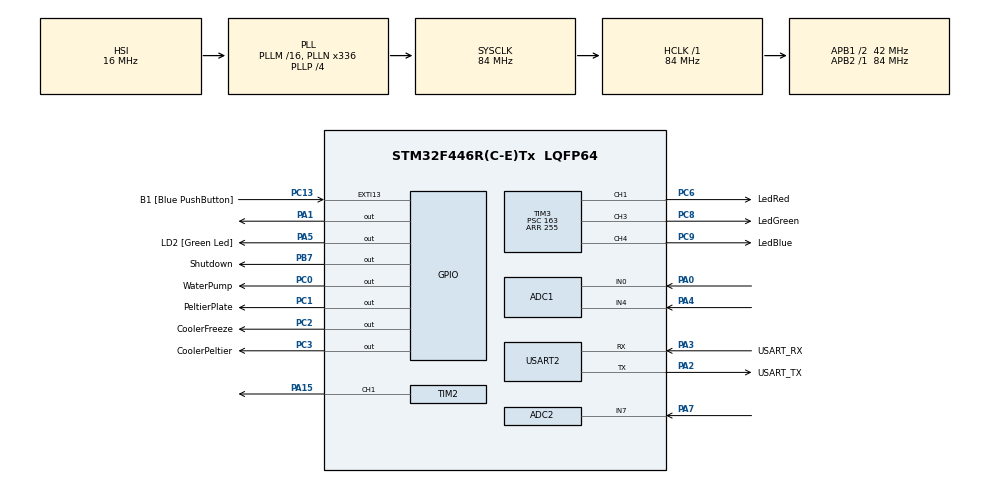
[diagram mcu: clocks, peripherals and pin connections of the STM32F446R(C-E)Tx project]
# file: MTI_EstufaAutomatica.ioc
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ADC1.Channel-0\#ChannelRegularConversion=ADC_CHANNEL_0
ADC1.Channel-1\#ChannelRegularConversion=ADC_CHANNEL_4
ADC1.DMAContinuousRequests=ENABLE
ADC1.EOCSelection=ADC_EOC_SEQ_CONV
ADC1.ExternalTrigConv=ADC_EXTERNALTRIGCONV_T2_TRGO
ADC1.NbrOfConversion=2
ADC1.NbrOfConversionFlag=1
ADC1.Rank-0\#ChannelRegularConversion=1
ADC1.Rank-1\#ChannelRegularConversion=2
ADC1.SamplingTime-0\#ChannelRegularConversion=ADC_SAMPLETIME_3CYCLES
ADC1.SamplingTime-1\#ChannelRegularConversion=ADC_SAMPLETIME_3CYCLES
ADC1.master=1
ADC2.Channel-0\#ChannelRegularConversion=ADC_CHANNEL_7
ADC2.DMAContinuousRequests=ENABLE
ADC2.ExternalTrigConv=ADC_EXTERNALTRIGCONV_T8_TRGO
ADC2.NbrOfConversionFlag=1
ADC2.Rank-0\#ChannelRegularConversion=1
ADC2.SamplingTime-0\#ChannelRegularConversion=ADC_SAMPLETIME_3CYCLES
Dma.ADC1.0.Direction=DMA_PERIPH_TO_MEMORY
Dma.ADC1.0.FIFOMode=DMA_FIFOMODE_DISABLE
Dma.ADC1.0.Instance=DMA2_Stream0
Dma.ADC1.0.MemDataAlignment=DMA_MDATAALIGN_HALFWORD
Dma.ADC1.0.MemInc=DMA_MINC_ENABLE
Dma.ADC1.0.Mode=DMA_CIRCULAR
Dma.ADC1.0.PeriphDataAlignment=DMA_PDATAALIGN_HALFWORD
Dma.ADC1.0.PeriphInc=DMA_PINC_DISABLE
Dma.ADC1.0.Priority=DMA_PRIORITY_MEDIUM
Dma.ADC2.3.Direction=DMA_PERIPH_TO_MEMORY
Dma.ADC2.3.FIFOMode=DMA_FIFOMODE_DISABLE
Dma.ADC2.3.Instance=DMA2_Stream2
Dma.ADC2.3.MemDataAlignment=DMA_MDATAALIGN_HALFWORD
Dma.ADC2.3.MemInc=DMA_MINC_ENABLE
Dma.ADC2.3.Mode=DMA_CIRCULAR
Dma.ADC2.3.PeriphDataAlignment=DMA_PDATAALIGN_HALFWORD
Dma.ADC2.3.PeriphInc=DMA_PINC_DISABLE
Dma.ADC2.3.Priority=DMA_PRIORITY_MEDIUM
Dma.Request0=ADC1
Dma.Request1=USART2_RX
Dma.Request2=USART2_TX
Dma.Request3=ADC2
Dma.USART2_RX.1.Direction=DMA_PERIPH_TO_MEMORY
Dma.USART2_RX.1.FIFOMode=DMA_FIFOMODE_DISABLE
Dma.USART2_RX.1.Instance=DMA1_Stream5
Dma.USART2_RX.1.MemDataAlignment=DMA_MDATAALIGN_BYTE
Dma.USART2_RX.1.MemInc=DMA_MINC_ENABLE
Dma.USART2_RX.1.Mode=DMA_CIRCULAR
Dma.USART2_RX.1.PeriphDataAlignment=DMA_PDATAALIGN_BYTE
Dma.USART2_RX.1.PeriphInc=DMA_PINC_DISABLE
Dma.USART2_RX.1.Priority=DMA_PRIORITY_MEDIUM
Dma.USART2_TX.2.Direction=DMA_MEMORY_TO_PERIPH
Dma.USART2_TX.2.FIFOMode=DMA_FIFOMODE_DISABLE
Dma.USART2_TX.2.Instance=DMA1_Stream6
Dma.USART2_TX.2.MemDataAlignment=DMA_MDATAALIGN_BYTE
Dma.USART2_TX.2.MemInc=DMA_MINC_ENABLE
Dma.USART2_TX.2.Mode=DMA_NORMAL
Dma.USART2_TX.2.PeriphDataAlignment=DMA_PDATAALIGN_BYTE
Dma.USART2_TX.2.PeriphInc=DMA_PINC_DISABLE
Dma.USART2_TX.2.Priority=DMA_PRIORITY_MEDIUM
Mcu.Family=STM32F4
Mcu.Name=STM32F446R(C-E)Tx
Mcu.Package=LQFP64
NVIC.DMA1_Stream5_IRQn=true\:0\:0\:false\:false\:true\:false\:true
NVIC.DMA1_Stream6_IRQn=true\:0\:0\:false\:false\:true\:false\:true
NVIC.DMA2_Stream0_IRQn=true\:0\:0\:false\:false\:true\:false\:true
NVIC.DMA2_Stream2_IRQn=true\:0\:0\:false\:false\:true\:false\:true
NVIC.PriorityGroup=NVIC_PRIORITYGROUP_0
NVIC.TIM1_TRG_COM_TIM11_IRQn=true\:0\:0\:false\:false\:true\:true\:true
NVIC.TIM1_UP_TIM10_IRQn=true\:0\:3\:false\:false\:true\:true\:true
NVIC.USART2_IRQn=true\:0\:0\:false\:false\:true\:true\:true
PA0-WKUP.Signal=ADCx_IN0
PA1.Signal=GPIO_Output
PA13.GPIO_Label=TMS
PA13.Mode=Serial_Wire
PA13.Signal=SYS_JTMS-SWDIO
PA14.GPIO_Label=TCK
PA14.Mode=Serial_Wire
PA14.Signal=SYS_JTCK-SWCLK
PA15.Signal=S_TIM2_CH1_ETR
PA2.GPIO_Label=USART_TX
PA2.Mode=Asynchronous
PA2.Signal=USART2_TX
PA3.GPIO_Label=USART_RX
PA3.Mode=Asynchronous
PA3.Signal=USART2_RX
PA4.Signal=ADCx_IN4
PA5.GPIO_Label=LD2 [Green Led]
PA5.Signal=GPIO_Output
PA7.Signal=ADCx_IN7
PB3.GPIO_Label=SWO
PB3.Signal=SYS_JTDO-SWO
PB7.GPIO_Label=Shutdown
PB7.Signal=GPIO_Output
PC0.GPIO_Label=WaterPump
PC0.Signal=GPIO_Output
PC1.GPIO_Label=PeltierPlate
PC1.Signal=GPIO_Output
PC13.GPIO_Label=B1 [Blue PushButton]
PC13.GPIO_ModeDefaultEXTI=GPIO_MODE_IT_FALLING
PC13.Signal=GPXTI13
PC14-OSC32_IN.Mode=LSE-External-Oscillator
PC14-OSC32_IN.Signal=RCC_OSC32_IN
PC15-OSC32_OUT.Mode=LSE-External-Oscillator
PC15-OSC32_OUT.Signal=RCC_OSC32_OUT
PC2.GPIO_Label=CoolerFreeze
PC2.Signal=GPIO_Output
PC3.GPIO_Label=CoolerPeltier
PC3.Signal=GPIO_Output
PC6.GPIO_Label=LedRed
PC6.Signal=S_TIM3_CH1
PC8.GPIO_Label=LedGreen
PC8.Signal=S_TIM3_CH3
PC9.GPIO_Label=LedBlue
PC9.Signal=S_TIM3_CH4
PH0-OSC_IN.Mode=HSE-External-Oscillator
PH0-OSC_IN.Signal=RCC_OSC_IN
PH1-OSC_OUT.Mode=HSE-External-Oscillator
PH1-OSC_OUT.Signal=RCC_OSC_OUT
ProjectManager.HeapSize=0x200
ProjectManager.StackSize=0x400
ProjectManager.TargetToolchain=STM32CubeIDE
RCC.48MHZClocksFreq_Value=84000000
RCC.AHBFreq_Value=84000000
RCC.APB1CLKDivider=RCC_HCLK_DIV2
RCC.APB1Freq_Value=42000000
RCC.APB1TimFreq_Value=84000000
RCC.APB2Freq_Value=84000000
RCC.APB2TimFreq_Value=84000000
RCC.CortexFreq_Value=84000000
RCC.FLatency-AdvancedSettings=FLASH_LATENCY_2
RCC.HCLKFreq_Value=84000000
RCC.HSE_VALUE=8000000
RCC.HSI_VALUE=16000000
RCC.PLLN=336
RCC.PLLP=RCC_PLLP_DIV4
RCC.SYSCLKFreq_VALUE=84000000
RCC.SYSCLKSource=RCC_SYSCLKSOURCE_PLLCLK
RCC.USBFreq_Value=168000000
RCC.VCOOutputFreq_Value=336000000
SH.ADCx_IN0.0=ADC1_IN0,IN0
SH.ADCx_IN4.0=ADC1_IN4,IN4
SH.ADCx_IN7.0=ADC2_IN7,IN7
SH.S_TIM2_CH1_ETR.0=TIM2_CH1,Output Compare1 CH1
SH.S_TIM3_CH1.0=TIM3_CH1,PWM Generation1 CH1
SH.S_TIM3_CH3.0=TIM3_CH3,PWM Generation3 CH3
SH.S_TIM3_CH4.0=TIM3_CH4,PWM Generation4 CH4
TIM10.Period=30000-1
TIM10.Prescaler=8400-1
TIM11.Period=6461-1
TIM11.Prescaler=64999
TIM2.Channel-Output\ Compare1\ CH1=TIM_CHANNEL_1
TIM2.OCMode_1=TIM_OCMODE_TOGGLE
TIM2.Period=499
TIM2.Prescaler=83
TIM2.TIM_MasterOutputTrigger=TIM_TRGO_UPDATE
TIM3.Channel-PWM\ Generation1\ CH1=TIM_CHANNEL_1
TIM3.Channel-PWM\ Generation3\ CH3=TIM_CHANNEL_3
TIM3.Channel-PWM\ Generation4\ CH4=TIM_CHANNEL_4
TIM3.Period=255
TIM3.Prescaler=163
TIM3.Pulse-PWM\ Generation1\ CH1=50
TIM3.Pulse-PWM\ Generation3\ CH3=50
TIM3.Pulse-PWM\ Generation4\ CH4=50
TIM3.TIM_MasterOutputTrigger=TIM_TRGO_RESET
TIM8.Period=199
TIM8.Prescaler=83
TIM8.TIM_MasterOutputTrigger=TIM_TRGO_UPDATE
USART2.VirtualMode=VM_ASYNC
VP_TIM10_VS_ClockSourceINT.Mode=Enable_Timer
VP_TIM11_VS_ClockSourceINT.Mode=Enable_Timer
VP_TIM2_VS_ClockSourceINT.Mode=Internal
VP_TIM3_VS_ClockSourceINT.Mode=Internal
VP_TIM8_VS_ClockSourceINT.Mode=Internal
board=NUCLEO-F446RE

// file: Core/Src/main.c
/* USER CODE BEGIN Header */
/**
  ******************************************************************************************************************
  * @file       main.c
  * @authors	Adriano André (Adriano-Andre),
  *  			Bruno Berwanger (BrunoGabrielBerwanger),
  * 			Fabrício Lutz (FabricioLutz),
  * 			Jordana Dutra (dutrajordana).
  * @date		Ago-Out (2020)
  * @copyright	Eletrônica - Fundação Liberato
  * @brief      Controle de Temperatura, Umidade do solo e Luz.
  ******************************************************************************************************************
  * @attention
  * Código utilizado para o trabalho MeuTrecoNaInternet - MICROS II - FETLSVC.
  * Pinagem atuadores: PC0->WaterPump, PC1->PeltierPlate, PC2->CoolerFreeze, PC3->CoolerPeltier, PC6->LedVermelho, PC8->LedVerde, PC9->LedAzul.
  * Pinagem sensores: PA0->LDR, PA1->DHT11, PA4->YL-69, PA7->ACS712.
  * Pinagem desligamento: PB7->Shutdown.
  *
  ******************************************************************************************************************
  */
/* USER CODE END Header */
#include "main.h"
#include "adc.h"
#include "dma.h"
#include "tim.h"
#include "usart.h"
#include "gpio.h"

/* USER CODE BEGIN Includes */
#include "DHT.h"								///< Biblioteca para o sensor DHT11 - Desenvolvida por: Controllers Tech (controllerstech.com)
#include "string.h"								///< Biblioteca básica
#include "stdio.h"								///< Biblioteca básica
#include "stdlib.h"								///< Biblioteca básica
#include "math.h"								///< Biblioteca básica
/* USER CODE END Includes */

/* USER CODE BEGIN PTD */
DHT_DataTypedef DHT11_Data;						///< Cria a estrutura para o sensor
/* USER CODE END PTD */

/* USER CODE BEGIN PD */
#define NAME 	"ALFA"							///< Nome da estufa (ALFA, BETA, GAMA)
#define VOLTAGE 12.00							///< Tensão elétrica usada para acionamento dos atuadores (Volts)
#define I_MAX   4.00							///< Máxima corrente elétrica (Amperes)
#define C_SENS  0.066							///< Coeficiente de sensibilidade do sensor ACS712 [0.185(5A), 0.1(20A), 0.066(30A)]
#define ZERO    (4.85/2)*(4096/3.3)				///< Valor de variação centrald o sensor ACS712, que depende da tensão de alimentação do sensor
#define SAMPLE  20								///< Número de amostras a serem analisadas pelos ADC's
#define PERCENT (100.0/(4095.0*10.0)) 			///< Cálculo da porcentagem para medição de Luz e Umidade do Solo
#define SIZE_TX 150								///< Tamanho máximo do buffer TX da usart
#define SIZE_RX 25								///< Tamanho máximo do buffer RX da usart
/* USER CODE END PD */

/* USER CODE BEGIN PV */
float Temperature;										///< Temperatura medida pelo sensor DHT11, em graus Celsius
float Humidity;											///< Umidade do ar medida pelo sensor DHT11, em porcentagem
float Light;											///< Luz medida pelo sensor LDR, em porcentagem
float Moisture;											///< Umidade do solo medida pelo sensor YL-69, em porcentagem
float Current;											///< Corrente elétrica medida pelo sensor ACS712, em ampéres
float Power;											///< Variáveis de consumo elétrico
uint8_t StateOf[4];										///< Vetor para acompanhar estado de alguns atuadores (Cooler da Peltier, Placa Peltier, Cooler de resfriamento e Status da Estufa)
volatile uint16_t measure_ADC1[SAMPLE];					///< Vetor para armazenar as leituras do YL-69 e LDR, no ADC1
volatile uint16_t measure_ADC2[SAMPLE];					///< Vetor para armazenar as leituras do ACS712, no ADC2
uint16_t average[3];									///< Média aritmética das medições do ADC1 e ADC2 (LDR, YL-69, ACS712)
char bufferRX[SIZE_RX];									///< Buffer de recebimento da USART
char bufferTX[SIZE_TX];									///< Buffer de envio da USART
float parameter[7]={0,50,0,100,255,255,255};			///< Vetor com os parâmetros ideais da estufa (TemperaturaMinima,TemperaturaMaxima,UmidadeDoSoloMinima, UmidadeDoSoloMaxima, LuzVermelha, LuzVerde, LuzAzul)
enum AUX												/// Enumeração para uso auxiliar dos vetores
{	 													//
	Temperature_Min,									// Variáveis para vetor parameter[]
	Temperature_Max,									// -
	Moisture_Min,										// -
	Moisture_Max,										// -
	LightRed,											// -
	LightGreen,											// -
	LightBlue,											// -
	CoolerPeltier=0,									// Variáveis para vetor StateOf[]
	PeltierPlate,										// -
	CoolerFreeze,										// -
	Status,												// -
	LDR=0,												// Variáveis paravetor average[]
	YL_69,												// -
	ACS712												// -
};

/* USER CODE END PV */

void SystemClock_Config(void);

/* USER CODE BEGIN 0 */
/**
  * @brief  Função de religamento da estufa. O PWM da fita de led é reativado, os demais atuadores esperarão por solicitação.
  * @retval None
  */
void turnOn(void)
{
	HAL_GPIO_WritePin(Shutdown_GPIO_Port, Shutdown_Pin,         GPIO_PIN_RESET);// Desativa o desligamento forçado dos atuadores
	HAL_GPIO_WritePin(PeltierPlate_GPIO_Port,PeltierPlate_Pin,  GPIO_PIN_RESET);// Desativação do atuador
	HAL_GPIO_WritePin(CoolerPeltier_GPIO_Port,CoolerPeltier_Pin,GPIO_PIN_RESET);// Desativação do atuador
	HAL_GPIO_WritePin(CoolerFreeze_GPIO_Port, CoolerFreeze_Pin, GPIO_PIN_RESET);// Desativação do atuador
	HAL_GPIO_WritePin(WaterPump_GPIO_Port,    WaterPump_Pin,    GPIO_PIN_RESET);// Desativação do atuador
	HAL_TIM_PWM_Start(&htim3, TIM_CHANNEL_1);									// Dispara a geração do sinal PWM - TIMER 3
	HAL_TIM_PWM_Start(&htim3, TIM_CHANNEL_3);									// Dispara a geração do sinal PWM - TIMER 3
	HAL_TIM_PWM_Start(&htim3, TIM_CHANNEL_4);									// Dispara a geração do sinal PWM - TIMER 3
	parameter[0]=0; parameter[1]=50; parameter[2]=0;							// Remove o código de reativação e reseta os parâmetros
	parameter[3]=100; parameter[4]=255; parameter[5]=255; parameter[6]=255;
	Current = 0;																// Reseta a variável de corrente para evitar medições enganosas
	Power = 0;																    // Reseta a variável de potência para evitar medições enganosas
	StateOf[PeltierPlate]  =   0;												// Guarda estado atual
	StateOf[CoolerPeltier] =   0;												// Guarda estado atual
	StateOf[CoolerFreeze]  =   0;												// Guarda estado atual
	StateOf[Status]        =   1;												// Guarda estado atual
}
/**
  * @brief  Função de desligamento da estufa. O Shutdon é ativado, todos os atuadores são desativados, o PWM da fita de led é desligado.
  * @retval None
  */
void turnOff(void)
{
	HAL_GPIO_WritePin(Shutdown_GPIO_Port, Shutdown_Pin,           GPIO_PIN_SET);// Ativa o desligamento forçado dos atuadores
	HAL_GPIO_WritePin(PeltierPlate_GPIO_Port,PeltierPlate_Pin,  GPIO_PIN_RESET);// Desativação do atuador
	HAL_GPIO_WritePin(CoolerPeltier_GPIO_Port,CoolerPeltier_Pin,GPIO_PIN_RESET);// Desativação do atuador
	HAL_GPIO_WritePin(CoolerFreeze_GPIO_Port, CoolerFreeze_Pin, GPIO_PIN_RESET);// Desativação do atuador
	HAL_GPIO_WritePin(WaterPump_GPIO_Port,    WaterPump_Pin,    GPIO_PIN_RESET);// Desativação do atuador
    HAL_TIM_PWM_Stop(&htim3, TIM_CHANNEL_1);									// Desliga a geração do sinal PWM - TIMER 3
    HAL_TIM_PWM_Stop(&htim3, TIM_CHANNEL_3);									// Desliga a geração do sinal PWM - TIMER 3
    HAL_TIM_PWM_Stop(&htim3, TIM_CHANNEL_4);									// Desliga a geração do sinal PWM - TIMER 3
	parameter[0]=0; parameter[1]=50; parameter[2]=0;							// Remove o código de reativação e reseta os parâmetros
	parameter[3]=100; parameter[4]=255; parameter[5]=255; parameter[6]=255;
	Current = 0;																// Reseta a variável de corrente para evitar medições enganosas
	Power = 0;																    // Reseta a variável de potência para evitar medições enganosas
	StateOf[PeltierPlate]  =   0;												// Guarda estado atual
	StateOf[CoolerPeltier] =   0;												// Guarda estado atual
	StateOf[CoolerFreeze]  =   0;												// Guarda estado atual
	StateOf[Status]        =   0; 												// Guarda estado atual
}
/* USER CODE END 0 */

int main(void)
{

  /* MCU Configuration--------------------------------------------------------*/

  /* Reset of all peripherals, Initializes the Flash interface and the Systick. */
  HAL_Init();

  /* Configure the system clock */
  SystemClock_Config();

  /* Initialize all configured peripherals */
  MX_GPIO_Init();
  MX_DMA_Init();
  MX_USART2_UART_Init();
  MX_ADC1_Init();
  MX_TIM3_Init();
  MX_TIM10_Init();
  MX_TIM2_Init();
  MX_TIM11_Init();
  MX_ADC2_Init();
  MX_TIM8_Init();
  /* USER CODE BEGIN 2 */
  // ATIVAÇÃO DO ADC1 E ADC2
  HAL_TIM_OC_Start(&htim2, TIM_CHANNEL_1);								// Ativa o timer 2 como trigger do ADC1
  HAL_ADC_Start_DMA(&hadc1, (uint32_t*) measure_ADC1, SAMPLE);			// Dispara a conversão DMA circular do ADC1
  HAL_TIM_Base_Start(&htim8);											// Ativa o timer 8 como trigger do ADC2
  HAL_ADC_Start_DMA(&hadc2, (uint32_t*) measure_ADC2, SAMPLE);			// Dispara a conversão DMA circular do ADC2
  // ATIVAÇÃO DA USART2 PARA RECEBIMENTO DE DADOS
  HAL_UART_Receive_DMA(&huart2, (uint8_t*) bufferRX, SIZE_RX);			// Ativa o recebimento de dados pela USART
  // ATIVAÇÃO DO TIM11 PARA ATIVAÇÃO DOS ATUADORES E ENVIO DE DADOS
  HAL_TIM_Base_Start_IT(&htim11);										// Ativa o timer 11 para análisar os estados da estufa e enviar os dados lidos
  // ATIVAÇÃO DO TIM10 PARA LEITURAS DO DHT11
  HAL_TIM_Base_Start_IT(&htim10);										// Ativa o timer 10 para leitura da temperatura/umidade do DHT11
  // PWM PARA FITA DE LED
  HAL_TIM_PWM_Start(&htim3, TIM_CHANNEL_1);								// Dispara a geração do sinal PWM - TIMER 3
  HAL_TIM_PWM_Start(&htim3, TIM_CHANNEL_3);								// Dispara a geração do sinal PWM - TIMER 3
  HAL_TIM_PWM_Start(&htim3, TIM_CHANNEL_4);								// Dispara a geração do sinal PWM - TIMER 3
  // ESTADO DA ESTUFA
  StateOf[Status] = 1;													// Estado inicial da estufa: ligado

  /* USER CODE END 2 */

  /* Infinite loop */
  while (1)
  {

  }
}

void SystemClock_Config(void)
{
  RCC_OscInitTypeDef RCC_OscInitStruct = {0};
  RCC_ClkInitTypeDef RCC_ClkInitStruct = {0};

  /** Configure the main internal regulator output voltage
  */
  __HAL_RCC_PWR_CLK_ENABLE();
  __HAL_PWR_VOLTAGESCALING_CONFIG(PWR_REGULATOR_VOLTAGE_SCALE3);
  /** Initializes the RCC Oscillators according to the specified parameters
  * in the RCC_OscInitTypeDef structure.
  */
  RCC_OscInitStruct.OscillatorType = RCC_OSCILLATORTYPE_HSI;
  RCC_OscInitStruct.HSIState = RCC_HSI_ON;
  RCC_OscInitStruct.HSICalibrationValue = RCC_HSICALIBRATION_DEFAULT;
  RCC_OscInitStruct.PLL.PLLState = RCC_PLL_ON;
  RCC_OscInitStruct.PLL.PLLSource = RCC_PLLSOURCE_HSI;
  RCC_OscInitStruct.PLL.PLLM = 16;
  RCC_OscInitStruct.PLL.PLLN = 336;
  RCC_OscInitStruct.PLL.PLLP = RCC_PLLP_DIV4;
  RCC_OscInitStruct.PLL.PLLQ = 2;
  RCC_OscInitStruct.PLL.PLLR = 2;
  if (HAL_RCC_OscConfig(&RCC_OscInitStruct) != HAL_OK)
  {
    Error_Handler();
  }
  /** Initializes the CPU, AHB and APB buses clocks
  */
  RCC_ClkInitStruct.ClockType = RCC_CLOCKTYPE_HCLK|RCC_CLOCKTYPE_SYSCLK
                              |RCC_CLOCKTYPE_PCLK1|RCC_CLOCKTYPE_PCLK2;
  RCC_ClkInitStruct.SYSCLKSource = RCC_SYSCLKSOURCE_PLLCLK;
  RCC_ClkInitStruct.AHBCLKDivider = RCC_SYSCLK_DIV1;
  RCC_ClkInitStruct.APB1CLKDivider = RCC_HCLK_DIV2;
  RCC_ClkInitStruct.APB2CLKDivider = RCC_HCLK_DIV1;

  if (HAL_RCC_ClockConfig(&RCC_ClkInitStruct, FLASH_LATENCY_2) != HAL_OK)
  {
    Error_Handler();
  }
}

/* USER CODE BEGIN 4 */
/**
  * @brief  Callback dos timers 10 e 11 para medição dos dados coletados do DHT11, análise de estados e envio de todas as informações dos sensores.
  * @retval None
  */
void HAL_TIM_PeriodElapsedCallback(TIM_HandleTypeDef *htim)
{
	// GUARDA OS VALORES DA ESTRUTURA DO DHT11 PÓS SALVAMENTO
	if(htim->Instance==TIM10)																	// Se o timer 10 estourou
	{																							//
		DHT_GetData(&DHT11_Data);																// Pega os valores do sensor
		Temperature = DHT11_Data.Temperature;													// Guarda a temperatura na variável flutuante
		Humidity = DHT11_Data.Humidity;															// Guarda a umidade do ar na variável flutuante
	}																							// Fim do estouro do TIM10
	// ANALISE DOS ESTADOS DA ESTUFA E ENVIO DOS DADOS COLETADOS
	if(htim->Instance==TIM11)																	// Se o timer 11 estourou
	{																							//
		// ENVIO DOS DADOS COLETADOS EM FORMATO JSON OBJECT PARA O NODE RED
		sprintf(bufferTX, "{\"Name\": \"%s\", \"Temperature\": %2.1f, \"Light\": %2.1f, \"Moisture\": %2.1f, \"Humidity\": %2.1f, \"Power\": %2.1f, \"Status\": %i}", NAME, Temperature, Light, Moisture, Humidity, Power, StateOf[Status]);
		HAL_UART_Transmit_DMA(&huart2, (uint8_t*) bufferTX, strlen(bufferTX));					// Envia a string bufferTX pela função Transmit DMA
		// CONTROLE DOS ATUADORES PELOS DADOS RECEBIDOS
		if(StateOf[Status]==1)																	// Se a estufa está ativada
		{																						//
			// ESTADOS DE TEMPERATURA COM HISTERESE
			if(Temperature<=(parameter[Temperature_Min]+1)&&(StateOf[CoolerFreeze]==1))			// Se o resfriamento está ativado, desliga somente ao alcançar a temperatura mínimo
			{																					//
				HAL_GPIO_WritePin(PeltierPlate_GPIO_Port, PeltierPlate_Pin,   GPIO_PIN_RESET);	// Desliga o atuador
				HAL_GPIO_WritePin(CoolerPeltier_GPIO_Port, CoolerPeltier_Pin, GPIO_PIN_RESET);	// Desliga o atuador
				HAL_GPIO_WritePin(CoolerFreeze_GPIO_Port, CoolerFreeze_Pin,   GPIO_PIN_RESET);	// Desliga o atuador
				StateOf[PeltierPlate]  = 0;														// Guarda o estado atual
				StateOf[CoolerPeltier] = 0;														// Guarda o estado atual
				StateOf[CoolerFreeze]  = 0;														// Guarda o estado atual
			}																					//
			else if((Temperature<parameter[Temperature_Min])&&(StateOf[CoolerFreeze]==0))		// Se o resfriamento está desativado e a temperatura está abaixo do mínimo
			{																					//
				HAL_GPIO_WritePin(PeltierPlate_GPIO_Port, PeltierPlate_Pin,   GPIO_PIN_SET);	// Liga o atuador
				HAL_GPIO_WritePin(CoolerPeltier_GPIO_Port, CoolerPeltier_Pin, GPIO_PIN_SET);	// Liga o atuador
				HAL_GPIO_WritePin(CoolerFreeze_GPIO_Port, CoolerFreeze_Pin,   GPIO_PIN_RESET);	// Desliga o atuador
				StateOf[PeltierPlate]  = 1;														// Guarda o estado atual
				StateOf[CoolerPeltier] = 1;														// Guarda o estado atual
				StateOf[CoolerFreeze]  = 0;														// Guarda o estado atual
			}																					//
			else if(Temperature>=(parameter[Temperature_Max]-1)&&(StateOf[PeltierPlate]==1))	// Se o aquecimento está ativado, desliga somente ao alcançar a temperatura máxima
			{																					//
				HAL_GPIO_WritePin(PeltierPlate_GPIO_Port, PeltierPlate_Pin,   GPIO_PIN_RESET);	// Desliga o atuador
				HAL_GPIO_WritePin(CoolerPeltier_GPIO_Port, CoolerPeltier_Pin, GPIO_PIN_RESET);	// Desliga o atuador
				HAL_GPIO_WritePin(CoolerFreeze_GPIO_Port, CoolerFreeze_Pin,   GPIO_PIN_RESET);	// Desliga o atuador
				StateOf[PeltierPlate]  = 0;														// Guarda o estado atual
				StateOf[CoolerPeltier] = 0;														// Guarda o estado atual
				StateOf[CoolerFreeze]  = 0;														// Guarda o estado atual
			}																					//
			else if((Temperature>parameter[Temperature_Max])&&(StateOf[PeltierPlate]==0))		// Se o aquecimento está desativado e a temperatura está acima do máximo
			{																					//
				HAL_GPIO_WritePin(PeltierPlate_GPIO_Port, PeltierPlate_Pin,   GPIO_PIN_RESET);	// Desliga o atuador
				HAL_GPIO_WritePin(CoolerPeltier_GPIO_Port, CoolerPeltier_Pin, GPIO_PIN_SET);	// Liga o atuador
				HAL_GPIO_WritePin(CoolerFreeze_GPIO_Port, CoolerFreeze_Pin,   GPIO_PIN_SET);	// Liga o atuador
				StateOf[PeltierPlate]  = 0;														// Guarda o estado atual
				StateOf[CoolerPeltier] = 1;														// Guarda o estado atual
				StateOf[CoolerFreeze]  = 1;														// Guarda o estado atual
			}																					//
			// ESTADOS DA UMIDADE DO SOLO COM HISTERESE
			if(Moisture<parameter[Moisture_Min])												// Se a umidade está menor que o mínimo
			{																					//
				HAL_GPIO_WritePin(WaterPump_GPIO_Port, WaterPump_Pin, GPIO_PIN_SET);			// Acionar modo de irrigação
			}																					//
			if(Moisture>=parameter[Moisture_Max])												// Se a umidade está acima do máximo
			{																					//
				HAL_GPIO_WritePin(WaterPump_GPIO_Port, WaterPump_Pin, GPIO_PIN_RESET);			// Desliga o modo de irrigação
			}																					//
			// ESTADOS DA LUZ
			__HAL_TIM_SET_COMPARE(&htim3,TIM_CHANNEL_1,parameter[LightRed]);					// Corrige a intensidade da cor
			__HAL_TIM_SET_COMPARE(&htim3,TIM_CHANNEL_3,parameter[LightGreen]);					// Corrige a intensidade da cor
			__HAL_TIM_SET_COMPARE(&htim3,TIM_CHANNEL_4,parameter[LightBlue]);					// Corrige a intensidade da cor
		}																						// Fim do controle de atuadores
	}																							// Fim do estouro do TIM11
}
/**
  * @brief  Callback de conversão completa do ADC1 e o ADC2, faz o processamento dos valores obtidos.
  * @retval None
  */
void HAL_ADC_ConvCpltCallback(ADC_HandleTypeDef* hadc)
{
	// GUARDA OS VALORES DOS SENSORES LDR E YL-69
	if(hadc->Instance==ADC1)										// Verifica se o CallBack foi feito pelo ADC1
	{																// Início da conversao completa do ADC1
		average[LDR] = 0; average[YL_69] = 0;						// Zera as posições dos vetors de média
		for(int i=0;i<SAMPLE;i++)									// Laço para guardar as medidas
			{														//
				if((i%2)==0)average[LDR] += measure_ADC1[i];		// Os valores pares são o LDR, soma todas as medições e salva no vetor
				else average[YL_69] += measure_ADC1[i];				// Os valores ímpares são o YL-69, soma todas as medições e salva no vetor
			}														//
		Light = average[LDR]*PERCENT;								// Retorna a porcentagem do valor medido de cada sensor
		Moisture = average[YL_69]*PERCENT;							// Retorna a porcentagem do valor medido de cada sensor
	}																// Fim da conversão completa do ADC1
	// GUARDA OS VALORES DO SENSOR DE CORRENTE
	if((hadc->Instance==ADC2)&&(StateOf[Status]==1))				// Verifica se o CallBack foi feito pelo ADC2 e a estufa está ativa
	{																// Início da conversao completa do ADC2
		average[ACS712] = 0;										// Zera as posições do vetor de média
		for(int i=0;i<SAMPLE;i++)									// Laço para guardar as medidas
			{														//
			average[ACS712] += measure_ADC2[i];						// Soma todas as medições e salva no vetor
			}														//
		// CALCULO DA CORRENTE ELÉTRICA
		average[ACS712] /= SAMPLE;									// Calcula a média aritmética das medidas
		Current = (((ZERO-average[ACS712])/4096.0)*(3.3/C_SENS));	// Calcula a corrente elétrica a partir da medição do sensor de corrente
		Current = abs(Current*1000)/1000.0;							// Arredonda o módulo do valor em 3 casas decimais
		// CONTROLE DE SOBRECORRENTE
		if(Current>I_MAX)											// Se a corrente atual ultrapassa o valor máximo
		{															//
			turnOff();												// Chama a função de desligamento
		}															// Fim da condição de sobrecorrente
		// CALCULO DA POTÊNCIA ELÉTRICA
		Power = VOLTAGE * Current;									// Calcula a potência elétrica do instante
	} 																// Fim da conversão completa do ADC2
}
/**
  * @brief  Callback de recepção da USART, os dados do usuário são recebidos, divididos e convertidos nos valores de parâmetros.
  * @retval None
  */
void HAL_UART_RxCpltCallback(UART_HandleTypeDef* huart)
{
	__HAL_UART_FLUSH_DRREGISTER(huart);												// Limpa o buffer de recepção para evitar overrun
	// DESATIVAÇÃO DOS ATUADORES PARA EVITAR CONFLITOS COM POSSIVEIS NOVOS VALORES
	HAL_GPIO_WritePin(PeltierPlate_GPIO_Port, PeltierPlate_Pin,   GPIO_PIN_RESET);	// Desativação do atuador
	HAL_GPIO_WritePin(CoolerPeltier_GPIO_Port, CoolerPeltier_Pin, GPIO_PIN_RESET);	// Desativação do atuador
	HAL_GPIO_WritePin(CoolerFreeze_GPIO_Port, CoolerFreeze_Pin,   GPIO_PIN_RESET);	// Desativação do atuador
	HAL_GPIO_WritePin(WaterPump_GPIO_Port,    WaterPump_Pin,      GPIO_PIN_RESET);	// Desativação do atuador
	StateOf[PeltierPlate]  = 0;														// Guarda estado atual
	StateOf[CoolerPeltier] = 0;														// Guarda estado atual
	StateOf[CoolerFreeze]  = 0;														// Guarda estado atual
	// SEPARAÇÃO DA STRING E CONVERSÃO PARA FLOAT - Código explicado por CodeVault (youtube.com/channel/UC6qj_bPq6tQ6hLwOBpBQ42Q)
	int i=0;																		// Variável auxiliar de contagem do vetor parameter
	char* pieces = strtok(bufferRX, " ");											// Cria um ponteiro Char que aponta para o primeiro "pedaço" da string até o caracter " "
	while (pieces != NULL)															// Enquanto o ponteiro não indicar o fim da string
	{																				//
		parameter[i] = atof(pieces);												// Converte o pedaço da string para float
		pieces = strtok(NULL, " ");													// Indica que permanece na mesma string e, então, segue para o próximo pedaço dela
		i++;																		// Segue para o próximo parâmetro ser convertido
	}																				//
	// REATIVAÇÃO DA ESTUFA
	if((StateOf[Status] == 0)&&(parameter[1] == 99))								// Se o sistema estiver desligado e o código de reativação foi recebido
	{																				//
		turnOn();																	// Chama a função de religamento
	}																				//
	// DESLIGAMENTO DA ESTUFA
	if((StateOf[Status] == 1)&&(parameter[1] == 88))								// Se o sistema estiver ativado e o código de deativação foi recebido
	{																				//
		turnOff();																	// Chama a função de desligamento
	}																				//
}
/* USER CODE END 4 */

void Error_Handler(void)
{
}

/************************ (C) COPYRIGHT STMicroelectronics *****END OF FILE****/
